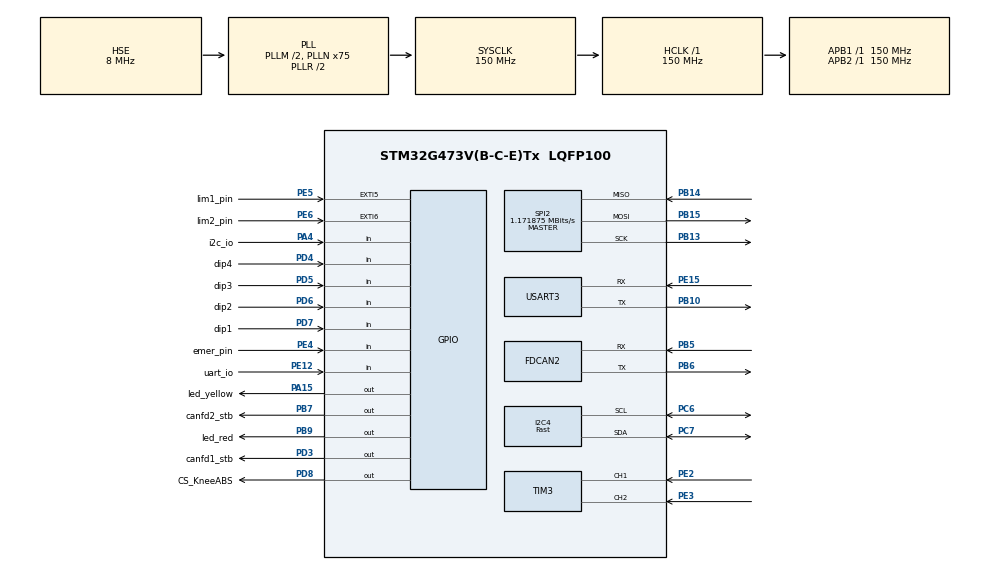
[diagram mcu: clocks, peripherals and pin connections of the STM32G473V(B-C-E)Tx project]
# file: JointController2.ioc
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FDCAN2.AutoRetransmission=DISABLE
FDCAN2.CalculateBaudRateNominal=1000000
FDCAN2.CalculateTimeBitNominal=1000
FDCAN2.CalculateTimeQuantumNominal=6.666666666666667
FDCAN2.DataPrescaler=1
FDCAN2.DataSyncJumpWidth=14
FDCAN2.DataTimeSeg1=15
FDCAN2.DataTimeSeg2=14
FDCAN2.ExtFiltersNbr=0
FDCAN2.FrameFormat=FDCAN_FRAME_FD_BRS
FDCAN2.Mode=FDCAN_MODE_NORMAL
FDCAN2.NominalPrescaler=1
FDCAN2.NominalSyncJumpWidth=20
FDCAN2.NominalTimeSeg1=129
FDCAN2.NominalTimeSeg2=20
FDCAN2.ProtocolException=DISABLE
FDCAN2.StdFiltersNbr=1
FDCAN2.TransmitPause=DISABLE
FDCAN2.TxFifoQueueMode=FDCAN_TX_FIFO_OPERATION
I2C4.I2C_Speed_Mode=I2C_Fast
I2C4.Timing=0x00E063FF
Mcu.Family=STM32G4
Mcu.Name=STM32G473V(B-C-E)Tx
Mcu.Package=LQFP100
NVIC.FDCAN2_IT0_IRQn=true\:0\:0\:false\:false\:true\:true\:true\:true
NVIC.PriorityGroup=NVIC_PRIORITYGROUP_4
NVIC.SPI2_IRQn=true\:0\:0\:false\:false\:true\:true\:true\:true
NVIC.TIM6_DAC_IRQn=true\:0\:0\:false\:false\:true\:true\:true\:true
NVIC.TIM7_DAC_IRQn=true\:0\:0\:false\:false\:true\:true\:true\:true
NVIC.USART3_IRQn=true\:0\:0\:false\:false\:true\:true\:true\:true
PA13.Mode=Trace_Asynchronous_SW
PA13.Signal=SYS_JTMS-SWDIO
PA14.Mode=Trace_Asynchronous_SW
PA14.Signal=SYS_JTCK-SWCLK
PA15.GPIO_Label=led_yellow
PA15.Signal=GPIO_Output
PA4.GPIO_Label=i2c_io
PA4.GPIO_PuPd=GPIO_PULLDOWN
PA4.Signal=GPIO_Input
PB10.Mode=Asynchronous
PB10.Signal=USART3_TX
PB13.GPIO_PuPd=GPIO_PULLDOWN
PB13.GPIO_Speed=GPIO_SPEED_FREQ_MEDIUM
PB13.Mode=Full_Duplex_Master
PB13.Signal=SPI2_SCK
PB14.GPIO_PuPd=GPIO_PULLDOWN
PB14.GPIO_Speed=GPIO_SPEED_FREQ_MEDIUM
PB14.Mode=Full_Duplex_Master
PB14.Signal=SPI2_MISO
PB15.GPIO_PuPd=GPIO_PULLDOWN
PB15.GPIO_Speed=GPIO_SPEED_FREQ_MEDIUM
PB15.Mode=Full_Duplex_Master
PB15.Signal=SPI2_MOSI
PB3.Mode=Trace_Asynchronous_SW
PB3.Signal=SYS_JTDO-SWO
PB5.GPIO_Speed=GPIO_SPEED_FREQ_MEDIUM
PB5.Mode=FDCAN_Activate
PB5.Signal=FDCAN2_RX
PB6.GPIO_Speed=GPIO_SPEED_FREQ_MEDIUM
PB6.Mode=FDCAN_Activate
PB6.Signal=FDCAN2_TX
PB7.GPIO_Label=canfd2_stb
PB7.Signal=GPIO_Output
PB9.GPIO_Label=led_red
PB9.Signal=GPIO_Output
PC6.Mode=I2C
PC6.Signal=I2C4_SCL
PC7.Mode=I2C
PC7.Signal=I2C4_SDA
PD2.Signal=S_TIM3_ETR
PD3.GPIO_Label=canfd1_stb
PD3.Signal=GPIO_Output
PD4.GPIO_Label=dip4
PD4.GPIO_PuPd=GPIO_PULLUP
PD4.Signal=GPIO_Input
PD5.GPIO_Label=dip3
PD5.GPIO_PuPd=GPIO_PULLUP
PD5.Signal=GPIO_Input
PD6.GPIO_Label=dip2
PD6.GPIO_PuPd=GPIO_PULLUP
PD6.Signal=GPIO_Input
PD7.GPIO_Label=dip1
PD7.GPIO_PuPd=GPIO_PULLUP
PD7.Signal=GPIO_Input
PD8.GPIO_Label=CS_KneeABS
PD8.GPIO_PuPd=GPIO_PULLUP
PD8.GPIO_Speed=GPIO_SPEED_FREQ_MEDIUM
PD8.PinState=GPIO_PIN_SET
PD8.Signal=GPIO_Output
PE12.GPIO_Label=uart_io
PE12.GPIO_PuPd=GPIO_PULLDOWN
PE12.Signal=GPIO_Input
PE15.Mode=Asynchronous
PE15.Signal=USART3_RX
PE2.GPIO_PuPd=GPIO_NOPULL
PE2.Signal=S_TIM3_CH1
PE3.GPIO_PuPd=GPIO_NOPULL
PE3.Signal=S_TIM3_CH2
PE4.GPIO_Label=emer_pin
PE4.GPIO_PuPd=GPIO_NOPULL
PE4.Signal=GPIO_Input
PE5.GPIO_Label=lim1_pin
PE5.Signal=GPXTI5
PE6.GPIO_Label=lim2_pin
PE6.Signal=GPXTI6
PF0-OSC_IN.Mode=HSE-External-Oscillator
PF0-OSC_IN.Signal=RCC_OSC_IN
PF1-OSC_OUT.Mode=HSE-External-Oscillator
PF1-OSC_OUT.Signal=RCC_OSC_OUT
ProjectManager.HeapSize=0x200
ProjectManager.StackSize=0x400
ProjectManager.TargetToolchain=EWARM V8.32
RCC.ADC12Freq_Value=150000000
RCC.ADC345Freq_Value=150000000
RCC.AHBFreq_Value=150000000
RCC.APB1Freq_Value=150000000
RCC.APB1TimFreq_Value=150000000
RCC.APB2Freq_Value=150000000
RCC.APB2TimFreq_Value=150000000
RCC.CortexFreq_Value=150000000
RCC.EXTERNAL_CLOCK_VALUE=12288000
RCC.HCLKFreq_Value=150000000
RCC.HSE_VALUE=8000000
RCC.HSI48_VALUE=48000000
RCC.HSI_VALUE=16000000
RCC.LSE_VALUE=32768
RCC.PLLM=RCC_PLLM_DIV2
RCC.PLLN=75
RCC.PLLSourceVirtual=RCC_PLLSOURCE_HSE
RCC.SYSCLKFreq_VALUE=150000000
RCC.SYSCLKSource=RCC_SYSCLKSOURCE_PLLCLK
RCC.USBFreq_Value=150000000
RCC.VCOOutputFreq_Value=300000000
SH.S_TIM3_CH1.0=TIM3_CH1,Encoder_Interface
SH.S_TIM3_CH2.0=TIM3_CH2,Encoder_Interface
SH.S_TIM3_ETR.0=TIM3_ETR
SPI2.BaudRatePrescaler=SPI_BAUDRATEPRESCALER_128
SPI2.CLKPhase=SPI_PHASE_2EDGE
SPI2.CalculateBaudRate=1.171875 MBits/s
SPI2.DataSize=SPI_DATASIZE_8BIT
SPI2.Direction=SPI_DIRECTION_2LINES
SPI2.Mode=SPI_MODE_MASTER
SPI2.VirtualType=VM_MASTER
TIM3.EncoderMode=TIM_ENCODERMODE_TI12
TIM3.IC1Filter=3
TIM3.IC1Polarity=TIM_ICPOLARITY_FALLING
TIM3.IC2Filter=3
TIM3.IC2Polarity=TIM_ICPOLARITY_FALLING
TIM6.PeriodNoDither=1000-1
TIM6.Prescaler=149
TIM7.PeriodNoDither=4999
TIM7.Prescaler=149
USART3.VirtualMode-Asynchronous=VM_ASYNC
VP_SYS_VS_DBSignals.Mode=DisableDeadBatterySignals
VP_TIM6_VS_ClockSourceINT.Mode=Enable_Timer
VP_TIM7_VS_ClockSourceINT.Mode=Enable_Timer
board=custom

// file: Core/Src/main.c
/* USER CODE BEGIN Header */
/**
  ******************************************************************************
  * @file           : main.c
  * @brief          : Main program body
  ******************************************************************************
  * @attention
  *
  * Copyright (c) 2023 STMicroelectronics.
  * All rights reserved.
  *
  * This software is licensed under terms that can be found in the LICENSE file
  * in the root directory of this software component.
  * If no LICENSE file comes with this software, it is provided AS-IS.
  *
  ******************************************************************************
  */
/* USER CODE END Header */
#include "main.h"
#include "fdcan.h"
#include "i2c.h"
#include "spi.h"
#include "tim.h"
#include "usart.h"
#include "gpio.h"

/* USER CODE BEGIN Includes */
#include "UNVScontroller_V3.h"
#include "PVESC_UART.h"
/* USER CODE END Includes */

/* USER CODE BEGIN PTD */
// Drive Feedback
typedef struct {
  float vel;              //!< velocity (rad/s)
  float pos;              //!< position (rad)
  float absPos; // !< Absolute position (rad)
} DriveFeedback;

typedef struct {
  uint8_t TxCommand;
  uint8_t errorFlag;
  volatile uint8_t RxDataBuff[2];
  uint8_t parity;
  uint16_t kneeOutputCountTemp;
  uint16_t kneeOutputCount; //(0-16383) 14bit quantization levels
  int32_t debug_kneeOutputDeg; //(0-360) degree
} AEAT9922;

struct ENCODER_Engine{
  int8_t direction;
  int16_t u16counter_ABI[2];
  int16_t encDelta_ABI;
  int32_t s32counter_ABI;
  float gearRatio;
}
incENCODER = {.direction = 1};

/* USER CODE END PTD */

/* USER CODE BEGIN PD */
// left side
// #define IS_DRIVE0 0
#define IS_DRIVE1 1
// right side
// #define IS_DRIVE2 2
// #define IS_DRIVE3 3

#ifndef PI
  #define PI   3.14159265358979323846264338327950
#endif

#define RadToDeg(X) (X * (180.0 / PI))
#define DegToRad(X) (X * (PI / 180.0))
// not implement ratio
//#define CntToDeg(X) (X * (360.0/2000.0))
//#define DegToCnt(X) (X * (2000.0/360.0))

// implement gear ratio (aps 5055s)
//  #define CntToDeg(X) (X * ((360.0 * 360.0)/(2000.0*35400.0)))
//  #define DegToCnt(X) (X * ((2000.0*35400.0)/(360.0 * 360.0)))
// note
// 360 deg output = 35400 deg input

// implement gear ratio (flipsky 6354 motor)
#define CntToDeg(X) (X * ((360.0 * 3.0)/(2000.0*284.0)))
#define DegToCnt(X) (X * ((2000.0*284.0)/(360.0 * 3.0)))

/* SPI commands */

// #define AMT22_RESET     0x60
// #define AMT22_ZERO      0x70
/* USER CODE END PD */

/* USER CODE BEGIN PV */
DriveFeedback fb; // for now: fb[0] is DRIVE0_ID

/**BEGIN>> Controller vialable <<**/
// CONTROLLER
CTRL_TypeDef knee_left;
uint8_t controller_is_enable = 0;
float pos_setpoint, pos_feedback;
float vel_setpoint, vel_feedback;
float cur_setpoint, cur_feedback;

float pos_feedback_knee_L = 0;
float vel_feedback_knee_L = 0;

float Current_U = 0;

// user input to controller
float userPos, userVel; // Position is in degree (0-360), Velocity is in Deg/Second.
float u; // current value for debug
float posError;
// sine parameter
uint16_t t_max = 2000;
uint32_t t_run, lastTick;
int32_t debug_pos, debug_error;
uint8_t driveflag;
/**END>> Controller vialable <<**/

// absolute encoder variable
AEAT9922 kneeAbs;
uint8_t abs_read_addr[2] = {0xC0, 0x3F};
//end absolute encoder variable

//vesc variable
uint8_t  vesc_tx_buff[10];
uint16_t vesc_bufflength;
int32_t TMC_torque_command = 0;
// end vesc variable

// test variable
uint32_t RxcallbackReCeived = 0;
uint32_t RxcallbackDoned = 0;
uint8_t firstTimeTxFDCAN2 = 0;
volatile uint32_t rxfifofilllevel = 0;
uint32_t txfifofreelevelBefore = 0;
uint32_t txfifofreelevelAfter = 0;
uint32_t countTxError = 0;
uint32_t countRxError1 = 0;
uint32_t countRxError2 = 0;
uint32_t countRxError3 = 0;
uint32_t canRestartCounter = 0;
uint32_t errorCount;

uint8_t txcplt;
uint8_t rxcplt;
uint8_t txrxcplt;

/* USER CODE END PV */

void SystemClock_Config(void);
/* USER CODE BEGIN PFP */
//! @brief Initialize CAN bus
void CAN_Init();
void CAN_UpdateCommand(FDCAN_HandleTypeDef *hfdcan, float *Current);
void CAN2_SendIqRef(DriveFeedback *fb);
uint8_t isEvenParity(uint16_t data); // 1 is even parity

/* USER CODE END PFP */

/* USER CODE BEGIN 0 */

uint8_t isEvenParity(uint16_t data){
    uint16_t y = data ^ (data >> 1);
    y = y ^ (y >> 2);
    y = y ^ (y >> 4);
    y = y ^ (y >> 8);

    // Rightmost bit of y holds the parity value
    // if (y&1) is 0 then parity is odd else even
    if(y & 1) {return 0;} else {return 1;};
}

void CAN_DISABLE_ALL(){
// LOW: normal mode, HIGH: stand by mode (TJA1042)
HAL_GPIO_WritePin(canfd2_stb_GPIO_Port, canfd2_stb_Pin, GPIO_PIN_SET);
}

void CAN_ENABLE_ALL(){
// LOW: normal mode, HIGH: stand by mode (TJA1042)
HAL_GPIO_WritePin(canfd2_stb_GPIO_Port, canfd2_stb_Pin, GPIO_PIN_RESET);
}

static void CAN_Start(FDCAN_HandleTypeDef *hfdcan,
                      FDCAN_FilterTypeDef *filter,
                      const uint32_t ActiveITs)
{
  if (HAL_FDCAN_ConfigFilter(hfdcan, filter) != HAL_OK) { while(1); }
  // Configure global filter
  if (HAL_FDCAN_ConfigGlobalFilter(hfdcan, FDCAN_REJECT, FDCAN_REJECT, FDCAN_REJECT_REMOTE, FDCAN_REJECT_REMOTE) != HAL_OK) { while(1); }
  // Activate Rx FIFO new message notification
  if (HAL_FDCAN_ActivateNotification(hfdcan, ActiveITs, 0) != HAL_OK) { while(1); }
  // Configure and enable Tx Delay Compensation, required for BRS mode.
  // TdcOffset default recommended value: DataTimeSeg1 * DataPrescaler
  // TdcFilter default recommended value: 0
  if (HAL_FDCAN_ConfigTxDelayCompensation(hfdcan, hfdcan->Init.DataTimeSeg1 * hfdcan->Init.DataPrescaler, 0) != HAL_OK) { while(1); }
  // Enable Tx delay compensation
  if (HAL_FDCAN_EnableTxDelayCompensation(hfdcan) != HAL_OK) { while(1); }
  // Start the FDCAN module
  if (HAL_FDCAN_Start(hfdcan) != HAL_OK) { while(1); }
}

static void CAN_ConfigOverwriteMode(FDCAN_HandleTypeDef *hfdcan, uint32_t RxFifo){
  if (HAL_FDCAN_ConfigRxFifoOverwrite(hfdcan, RxFifo, FDCAN_RX_FIFO_OVERWRITE) != HAL_OK) {
   while(1);
  }
}

void CAN_Init()
{
  // Disable CAN transceiver
  CAN_DISABLE_ALL();

  FDCAN_FilterTypeDef filter = {0};
  filter.IdType       = FDCAN_STANDARD_ID;
  filter.FilterIndex  = 0;
  filter.FilterType   = FDCAN_FILTER_MASK;

  // Start CAN2
  filter.FilterConfig = FDCAN_FILTER_TO_RXFIFO0;

#ifdef IS_DRIVE0
  filter.FilterID1    = IS_DRIVE0;
#endif
#ifdef IS_DRIVE1
  filter.FilterID1    = IS_DRIVE1;
#endif
#ifdef IS_DRIVE2
  filter.FilterID1    = IS_DRIVE2;
#endif
#ifdef IS_DRIVE3
  filter.FilterID1    = IS_DRIVE3;
#endif

  filter.FilterID2    = 0x7FF;
  // CAN_ConfigOverwriteMode(&hfdcan2, FDCAN_RX_FIFO0);
  CAN_Start(&hfdcan2, &filter, FDCAN_IT_RX_FIFO0_NEW_MESSAGE);

  // Enable CAN tranceiver
  CAN_ENABLE_ALL();
}

void canRestartPeriPheral(){
  // if we have two can instance, we will need to fix this later.
  // deinit the canfd peripheral
  if (HAL_FDCAN_DeInit(&hfdcan2) != HAL_OK) { while(1) ;};
  HAL_Delay(100);
  // init
  MX_FDCAN2_Init();
  // config both can instance and start both can instance
  CAN_Init();
  // track restart behaviour
  canRestartCounter++;
}

void CAN2_SendIqRef(DriveFeedback *fb)
{
  if (HAL_FDCAN_GetTxFifoFreeLevel(&hfdcan2) < 2) {
    countTxError++;
    if (countTxError >= 500) {countTxError = 0; canRestartPeriPheral();};
    HAL_GPIO_WritePin(led_red_GPIO_Port, led_red_Pin, GPIO_PIN_SET);
    return;
  }
  HAL_GPIO_WritePin(led_red_GPIO_Port, led_red_Pin, GPIO_PIN_RESET);
  // Set header
  FDCAN_TxHeaderTypeDef header;
  header.IdType = FDCAN_STANDARD_ID;
  header.TxFrameType = FDCAN_DATA_FRAME;
  header.DataLength = FDCAN_DLC_BYTES_12;
  header.ErrorStateIndicator = FDCAN_ESI_ACTIVE;
  header.BitRateSwitch = FDCAN_BRS_ON;
  header.FDFormat = FDCAN_FD_CAN;
  header.TxEventFifoControl = FDCAN_NO_TX_EVENTS;
  header.MessageMarker = 0;
  // send feedback

#ifdef IS_DRIVE0
  header.Identifier = IS_DRIVE0;
#endif
#ifdef IS_DRIVE1
  header.Identifier = IS_DRIVE1;
#endif
#ifdef IS_DRIVE2
  header.Identifier = IS_DRIVE2;
#endif
#ifdef IS_DRIVE3
  header.Identifier = IS_DRIVE3;
#endif

  if (HAL_FDCAN_AddMessageToTxFifoQ(&hfdcan2, &header, (uint8_t*)fb) != HAL_OK) { return; }
}

void CAN_UpdateCommand(FDCAN_HandleTypeDef *hfdcan, float *Current)
{
  // Retrieve message
  FDCAN_RxHeaderTypeDef header;
  uint8_t rx_buf[4]; // receive current from master
  if (HAL_FDCAN_GetRxMessage(hfdcan, FDCAN_RX_FIFO0, &header, rx_buf) != HAL_OK) {
    countRxError2++;
    return;
  }
  // Check header
  if (header.IdType != FDCAN_STANDARD_ID || header.RxFrameType != FDCAN_DATA_FRAME ||
      header.FDFormat != FDCAN_FD_CAN || header.DataLength != FDCAN_DLC_BYTES_4) {
        countRxError3++;
        return;
      }
  // Update data from master
  *Current = *(float *)rx_buf;
}

/* USER CODE END 0 */

int main(void)
{

  /* MCU Configuration--------------------------------------------------------*/

  /* Reset of all peripherals, Initializes the Flash interface and the Systick. */
  HAL_Init();

  /* Configure the system clock */
  SystemClock_Config();

  /* Initialize all configured peripherals */
  MX_GPIO_Init();
  MX_FDCAN2_Init();
  MX_I2C4_Init();
  MX_TIM3_Init();
  MX_USART3_UART_Init();
  MX_TIM6_Init();
  MX_TIM7_Init();
  MX_SPI2_Init();
  /* USER CODE BEGIN 2 */

// CONTROLLER

  // float kUNVS_wheel[3] = {0.2f, 1.0f, 1.0f};       //controller gain wheel universal controller for 1st order system ka=0.6 kr=1 kb=2(could be increased)
  float kUNVS_kneeleft[3] = {5.0f, 0.15f, 0.0f};     // 5, 0.15 ,0  date09/03/23
  float intLimit = 10.0f;                          //saturation value of controller integral terms
  float uLimit   = 10.0f;                          //saturation value of controller
  float dZone    = 0.001f;                         //deadzone of controller
  float dtCtrl   = 0.001f;
  float velLimit = 100.0f;

  // InitCtrl(&motor_wheel_L, dtCtrl, kUNVS_wheel, dZone, intLimit, uLimit, velLimit);
  // InitCtrl(&motor_wheel_R, dtCtrl, kUNVS_wheel, dZone, intLimit, uLimit, velLimit);
  InitCtrl(&knee_left, dtCtrl, kUNVS_kneeleft, dZone, intLimit, uLimit, velLimit);
  // InitCtrl(&motor_bws_R, dtCtrl, kUNVS_bws, dZone, intLimit, uLimit, velLimit);

  // END INITIALIZE CONTROLLER //

  // // CAN initialize
  CAN_Init();
  // // timer for encoder
  HAL_TIM_Encoder_Start(&htim3, TIM_CHANNEL_ALL); // encoder timer
  // // timer initialize // loop 1000 hz
  HAL_TIM_Base_Start_IT(&htim6);

  /* USER CODE END 2 */

  /* Infinite loop */
  /* USER CODE BEGIN WHILE */
  while (1)
  {
    // sine wave position 1000 hz
     if(uwTick - lastTick >= 1){
       lastTick = uwTick;
       if(!driveflag){continue;}
       // tmax = 1000 -> 1 sec to finish sine loop
       userPos = 10.0f * sin(2.0f * PI * (t_run++ % t_max) / (t_max - 1));
       debug_pos = userPos * 100;
     }

    /* USER CODE END WHILE */

  }
}

void SystemClock_Config(void)
{
  RCC_OscInitTypeDef RCC_OscInitStruct = {0};
  RCC_ClkInitTypeDef RCC_ClkInitStruct = {0};

  /** Configure the main internal regulator output voltage
  */
  HAL_PWREx_ControlVoltageScaling(PWR_REGULATOR_VOLTAGE_SCALE1);

  /** Initializes the RCC Oscillators according to the specified parameters
  * in the RCC_OscInitTypeDef structure.
  */
  RCC_OscInitStruct.OscillatorType = RCC_OSCILLATORTYPE_HSE;
  RCC_OscInitStruct.HSEState = RCC_HSE_ON;
  RCC_OscInitStruct.PLL.PLLState = RCC_PLL_ON;
  RCC_OscInitStruct.PLL.PLLSource = RCC_PLLSOURCE_HSE;
  RCC_OscInitStruct.PLL.PLLM = RCC_PLLM_DIV2;
  RCC_OscInitStruct.PLL.PLLN = 75;
  RCC_OscInitStruct.PLL.PLLP = RCC_PLLP_DIV2;
  RCC_OscInitStruct.PLL.PLLQ = RCC_PLLQ_DIV2;
  RCC_OscInitStruct.PLL.PLLR = RCC_PLLR_DIV2;
  if (HAL_RCC_OscConfig(&RCC_OscInitStruct) != HAL_OK)
  {
    Error_Handler();
  }

  /** Initializes the CPU, AHB and APB buses clocks
  */
  RCC_ClkInitStruct.ClockType = RCC_CLOCKTYPE_HCLK|RCC_CLOCKTYPE_SYSCLK
                              |RCC_CLOCKTYPE_PCLK1|RCC_CLOCKTYPE_PCLK2;
  RCC_ClkInitStruct.SYSCLKSource = RCC_SYSCLKSOURCE_PLLCLK;
  RCC_ClkInitStruct.AHBCLKDivider = RCC_SYSCLK_DIV1;
  RCC_ClkInitStruct.APB1CLKDivider = RCC_HCLK_DIV1;
  RCC_ClkInitStruct.APB2CLKDivider = RCC_HCLK_DIV1;

  if (HAL_RCC_ClockConfig(&RCC_ClkInitStruct, FLASH_LATENCY_4) != HAL_OK)
  {
    Error_Handler();
  }
}

/* USER CODE BEGIN 4 */

// FDCAN2 RXfifo 0
//! @brief Rx FIFO 0 callback
void HAL_FDCAN_RxFifo0Callback(FDCAN_HandleTypeDef *hfdcan, uint32_t RxFifo0ITs)
{
  RxcallbackReCeived++;

  // Skip if no new message
  if(!(RxFifo0ITs & FDCAN_IT_RX_FIFO0_NEW_MESSAGE)) {
    countRxError1++;
    return;
  }

  // // Update feedback data
  // CAN_UpdateCommand(hfdcan, &Current_U);

  // // 4.) Sending uart to control motor using current
  // //TMC_torque_command = 1000 is 1 A (current).
  // TMC_torque_command = Current_U * 1000;
  // vesc_bufflength = VESC_UARTsetCurrent(vesc_tx_buff, TMC_torque_command);
  // HAL_UART_Transmit_IT(&huart3, vesc_tx_buff, vesc_bufflength);

  // // send command back to master
  // CAN2_SendIqRef(&fb);

  // test
  RxcallbackDoned++;

}

void HAL_TIM_PeriodElapsedCallback(TIM_HandleTypeDef *htim){
  if(htim->Instance == TIM6){ // loop 1000 hz
    // 1.) read encoder

    //incremental encoder
    incENCODER.u16counter_ABI[0] = (int16_t)__HAL_TIM_GET_COUNTER(&htim3);
    incENCODER.encDelta_ABI = (incENCODER.u16counter_ABI[0] - incENCODER.u16counter_ABI[1]);
    incENCODER.u16counter_ABI[1] = incENCODER.u16counter_ABI[0];
    incENCODER.s32counter_ABI += incENCODER.direction * incENCODER.encDelta_ABI;

    // //absolute encoder
    // HAL_GPIO_WritePin(CS_KneeABS_GPIO_Port, CS_KneeABS_Pin, GPIO_PIN_RESET);
    // HAL_SPI_Transmit_IT(&hspi2, abs_read_addr, 2);

    // // update the fb parameter
    // fb.pos = CntToDeg(incENCODER.s32counter_ABI);    //[degree]
    // fb.vel = CntToDeg(incENCODER.encDelta_ABI) * 1000.0f;   //[deg/s]
    // // fb.absPos = kneeAbs.kneeOutputCount * (360.0/16383.0); //offset = 6.81 deg
    // fb.absPos = userPos; //offset = 6.81 deg

    // 3.) COMPUTE control parameter (position control)
    //3.1 knee_left

    pos_feedback =  CntToDeg(incENCODER.s32counter_ABI);    //[deg]
    //vel_feedback = DegToRad(CntToDeg(incENCODER.encDelta_ABI)) * 1000.0f;   //[deg/s]
    // y=mm2rad*BWSComm_L.h_lever;
    posError=userPos - pos_feedback;
    knee_left.err=posError;
    debug_error = posError * 100;
    // PosCtrlPID(&motor_bws_L, &u); //standard PID  // bws gain P=40 I=20 D=10
    PosCtrl(&knee_left, &u); //  bws gain Ka=150 Kr=0.25(quite 0.2) Kb=20

    // 4.) Sending uart to control motor using current
    //TMC_torque_command = 1000 is 1 A (current).
    TMC_torque_command = u * 1000 ;
    vesc_bufflength = VESC_UARTsetCurrent(vesc_tx_buff, TMC_torque_command);
    HAL_UART_Transmit_IT(&huart3, vesc_tx_buff, vesc_bufflength);

  }
}

void HAL_SPI_TxCpltCallback(SPI_HandleTypeDef *hspi)
{
  if(hspi->Instance == SPI2){
    HAL_GPIO_WritePin(CS_KneeABS_GPIO_Port, CS_KneeABS_Pin, GPIO_PIN_SET);
    HAL_GPIO_WritePin(CS_KneeABS_GPIO_Port, CS_KneeABS_Pin, GPIO_PIN_RESET);
    HAL_SPI_Receive_IT(&hspi2, (uint8_t *)kneeAbs.RxDataBuff, 2);
  }
}
void HAL_SPI_RxCpltCallback(SPI_HandleTypeDef *hspi)
{
  if(hspi->Instance == SPI2){
    HAL_GPIO_WritePin(CS_KneeABS_GPIO_Port, CS_KneeABS_Pin, GPIO_PIN_SET);

    // process the received data
    kneeAbs.errorFlag = (kneeAbs.RxDataBuff[0] >> 6) & 1U;
    kneeAbs.kneeOutputCountTemp = (uint16_t)( ((uint8_t)kneeAbs.RxDataBuff[0] << 8) | ((uint8_t)kneeAbs.RxDataBuff[1]));
    kneeAbs.parity = isEvenParity(kneeAbs.kneeOutputCountTemp);
    if(!kneeAbs.errorFlag && isEvenParity(kneeAbs.kneeOutputCountTemp)){
      kneeAbs.kneeOutputCount =  kneeAbs.kneeOutputCountTemp & 0x3FFF;
    }else{
      errorCount++;
    }

  }
}

/* USER CODE END 4 */

void Error_Handler(void)
{
  __disable_irq();
  while (1)
  {
  }
}
